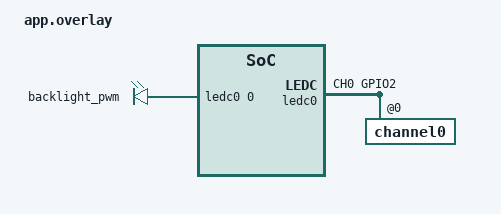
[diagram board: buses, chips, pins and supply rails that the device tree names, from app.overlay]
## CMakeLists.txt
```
cmake_minimum_required(VERSION 3.20.0)

set(EXTRA_ZEPHYR_MODULES
    "${CMAKE_CURRENT_SOURCE_DIR}/../.."
)

find_package(Zephyr REQUIRED HINTS $ENV{ZEPHYR_BASE})
project(viewe_lvgl_demo)

target_include_directories(app PRIVATE include)

target_sources(app PRIVATE
    src/main.c
    src/display.c
    src/backlight.c
    src/rgb_led.c
    src/gui.c
)
```

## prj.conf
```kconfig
# System logging
CONFIG_LOG=y
CONFIG_LOG_LCD_CAM_DIAGNOSTICS=n

# Hardware peripherals
CONFIG_GPIO=y
CONFIG_PWM=y
CONFIG_DMA=y
CONFIG_LED_STRIP=y
CONFIG_PULSE_IO_ESP32_RMT=y

# LCD_CAM RGB display
CONFIG_DISPLAY=y
CONFIG_ESP32_LCD_CAM_RGB=y
CONFIG_ESP32_LCD_RGB_BACKEND_V2=y
CONFIG_ESP32_LCD_RGB_V2_STATS=y
CONFIG_ESP32_LCD_RGB_FRAMEBUFFER_COUNT=3
# Display orientation (select one)
CONFIG_ESP32_LCD_RGB_ROTATION_0=y
# CONFIG_ESP32_LCD_RGB_ROTATION_90=y
# CONFIG_ESP32_LCD_RGB_ROTATION_180=y
# CONFIG_ESP32_LCD_RGB_ROTATION_270=y

# External PSRAM
CONFIG_ESP_SPIRAM=y
CONFIG_SPIRAM_SPEED_80M=y
CONFIG_ESP_SPIRAM_HEAP_SIZE=4194304

# LCD backlight
CONFIG_LED=y
CONFIG_LED_PWM=y

# GT911 touchscreen
CONFIG_INPUT=y
CONFIG_INPUT_GT911=y
# Default: POLL=y. Set INT=y only when R33 is mounted.
CONFIG_GT911_TOUCHSCREEN_POLL=y
# CONFIG_GT911_TOUCHSCREEN_INT=y

# LVGL
CONFIG_LVGL=y
CONFIG_LV_Z_FLUSH_THREAD=n
CONFIG_LV_COLOR_FORMAT_RGB565=y
CONFIG_LV_Z_MEM_POOL_SIZE=65536
CONFIG_LV_Z_POINTER_INPUT=y
CONFIG_LV_Z_POINTER_FROM_CHOSEN_TOUCH=y
CONFIG_LV_Z_PARTIAL_REFRESH=y
CONFIG_LV_Z_DOUBLE_VDB=y
CONFIG_LV_Z_BUFFER_ALLOC_STATIC=y
CONFIG_LV_Z_AUTO_INIT=y

# LVGL fonts
CONFIG_LV_FONT_MONTSERRAT_20=y
CONFIG_LV_FONT_MONTSERRAT_28=y
CONFIG_LV_FONT_MONTSERRAT_48=y
```

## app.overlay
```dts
#include <zephyr/dt-bindings/pwm/pwm.h>
#include <zephyr/dt-bindings/pinctrl/esp32s3-pinctrl.h>

&lcd_backlight_en {
	status = "disabled";
};

&pinctrl {
	backlight_pwm_default: backlight_pwm_default {
		group1 {
			pinmux = <LEDC_CH0_GPIO2>;
			output-enable;
		};
	};
};

&ledc0 {
	status = "okay";
	pinctrl-0 = <&backlight_pwm_default>;
	pinctrl-names = "default";
	#address-cells = <1>;
	#size-cells = <0>;

	channel0@0 {
		reg = <0>;
		timer = <0>;
	};
};

/ {
	pwmleds {
		compatible = "pwm-leds";

		backlight_pwm: backlight_pwm {
			pwms = <&ledc0 0 PWM_HZ(250) PWM_POLARITY_NORMAL>;
		};
	};
};
```

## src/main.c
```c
/**
 * @file main.c
 * @brief VIEWE LVGL demonstration application entry point.
 */

/*****************************************************************************
                                    INCLUDES
*****************************************************************************/
#include <zephyr/kernel.h>
#include <zephyr/logging/log.h>

#include <backlight.h>
#include <display.h>
#include <gui.h>
#include <rgb_led.h>


/*****************************************************************************
                          PRIVATE DEFINES / MACROS
*****************************************************************************/
LOG_MODULE_REGISTER(viewe_main, LOG_LEVEL_INF);

#define LVGL_TASK_DELAY_MS (2U)


/*****************************************************************************
                     PRIVATE STRUCTS / ENUMS / VARIABLES
*****************************************************************************/

/*****************************************************************************
                         PRIVATE FUNCTION DECLARATIONS
*****************************************************************************/

/*****************************************************************************
                       PRIVATE FUNCTION IMPLEMENTATIONS
*****************************************************************************/

/*****************************************************************************
                           INTERFACE IMPLEMENTATION
*****************************************************************************/
int main(void)
{
    int ret = 0;
    lv_obj_t *screen = NULL;

    ret = display_init(&screen);
    if (0 != ret) {
        return ret;
    }

    ret = rgb_led_init();
    if (0 != ret) {
        return ret;
    }

    ret = backlight_init();
    if (0 != ret) {
        return ret;
    }

    ret = gui_init(screen);
    if (0 != ret) {
        LOG_ERR("GUI initialization failed: %d", ret);
        return ret;
    }

    while (true) {
        display_process();
        k_sleep(K_MSEC(LVGL_TASK_DELAY_MS));
    }

    return 0;
}
```

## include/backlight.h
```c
/**
 * @file backlight.h
 * @brief LCD backlight initialization for the VIEWE demo.
 * 
 * Provides initialization for the onboard LCD backlight.
 */

#ifndef VIEWE_DEMO_BACKLIGHT_H
#define VIEWE_DEMO_BACKLIGHT_H

/*****************************************************************************
                                    INCLUDES
*****************************************************************************/

/*****************************************************************************
                       PUBLIC DEFINES / MACROS / ENUMS
*****************************************************************************/

/*****************************************************************************
                         PUBLIC INTERFACE DECLARATION
*****************************************************************************/
/**
 * @brief Initialize the LCD backlight with the default brightness.
 * @return 0 on success, a negative errno code otherwise.
 */
int backlight_init(void);

#endif // VIEWE_DEMO_BACKLIGHT_H
```

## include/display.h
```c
/**
 * @file display.h
 * @brief Display validation and LVGL runtime support for the VIEWE demo.
 *
 * Provides functions for obtaining the active LVGL screen and processing
 * LVGL timers in the application's main loop.
 */

#ifndef VIEWE_DEMO_DISPLAY_H
#define VIEWE_DEMO_DISPLAY_H

/*****************************************************************************
                                    INCLUDES
*****************************************************************************/
#include <lvgl.h>


/*****************************************************************************
                       PUBLIC DEFINES / MACROS / ENUMS
*****************************************************************************/

/*****************************************************************************
                         PUBLIC INTERFACE DECLARATION
*****************************************************************************/
/**
 * @brief Validate the Zephyr display and obtain the active LVGL screen.
 * @param screen Active LVGL screen on successful initialization.
 * @return 0 on success, negative errno code otherwise.
 */
int display_init(lv_obj_t **screen);

/** @brief Run a single LVGL timer-handler iteration. */
void display_process(void);

#endif // VIEWE_DEMO_DISPLAY_H
```

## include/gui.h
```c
/**
 * @file gui.h
 * @brief Shared LVGL interface for both VIEWE display variants.
 *
 * Creates the demo widgets and selects a size-aware layout using the
 * active LVGL display dimensions.
 */

#ifndef VIEWE_DEMO_GUI_H
#define VIEWE_DEMO_GUI_H

/*****************************************************************************
                                    INCLUDES
*****************************************************************************/
#include <lvgl.h>


/*****************************************************************************
                       PUBLIC DEFINES / MACROS / ENUMS
*****************************************************************************/

/*****************************************************************************
                         PUBLIC INTERFACE DECLARATION
*****************************************************************************/
/**
 * @brief Create the demo interface on the supplied LVGL screen.
 * @param screen Active LVGL screen.
 * @return 0 on success, negative errno code otherwise.
 */
int gui_init(lv_obj_t *screen);

#endif // VIEWE_DEMO_GUI_H
```

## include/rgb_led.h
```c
/**
 * @file rgb_led.h
 * @brief RGB LED initialization for the VIEWE demo.
 * 
 * Sets fixed color on RGB-LED
 */

#ifndef VIEWE_DEMO_RGB_LED_H
#define VIEWE_DEMO_RGB_LED_H

/*****************************************************************************
                                    INCLUDES
*****************************************************************************/

/*****************************************************************************
                       PUBLIC DEFINES / MACROS / ENUMS
*****************************************************************************/

/*****************************************************************************
                         PUBLIC INTERFACE DECLARATION
*****************************************************************************/
/**
 * @brief Set the status RGB LED to the demo's startup color.
 * @return 0 on success, negative errno code otherwise.
 */
int rgb_led_init(void);

#endif // VIEWE_DEMO_RGB_LED_H
```

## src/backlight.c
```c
/**
 * @file backlight.c
 * @brief PWM-controlled LCD backlight initialization.
 */

/*****************************************************************************
                                    INCLUDES
*****************************************************************************/
#include <errno.h>

#include <zephyr/device.h>
#include <zephyr/devicetree.h>
#include <zephyr/drivers/led.h>
#include <zephyr/logging/log.h>

#include <backlight.h>


/*****************************************************************************
                          PRIVATE DEFINES / MACROS
*****************************************************************************/
LOG_MODULE_REGISTER(viewe_backlight, LOG_LEVEL_INF);

#define BACKLIGHT_NODE DT_ALIAS(backlight_pwm)
#define BACKLIGHT_LED_INDEX (0U)
#define BACKLIGHT_START_BRIGHTNESS_PERCENT (35U)


/*****************************************************************************
                     PRIVATE STRUCTS / ENUMS / VARIABLES
*****************************************************************************/
static const struct device *const backlight_dev = DEVICE_DT_GET(BACKLIGHT_NODE);


/*****************************************************************************
                         PRIVATE FUNCTION DECLARATIONS
*****************************************************************************/

/*****************************************************************************
                       PRIVATE FUNCTION IMPLEMENTATIONS
*****************************************************************************/

/*****************************************************************************
                           INTERFACE IMPLEMENTATION
*****************************************************************************/
int backlight_init(void)
{
    int ret = 0;

    if (true != device_is_ready(backlight_dev)) {
        LOG_ERR("Backlight device not ready");
        return -ENODEV;
    }

    ret = led_set_brightness(backlight_dev, BACKLIGHT_LED_INDEX, BACKLIGHT_START_BRIGHTNESS_PERCENT);
    if (0 != ret) {
        LOG_ERR("Backlight brightness failed: %d", ret);
    }

    return ret;
}
```

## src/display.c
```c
/**
 * @file display.c
 * @brief Zephyr display readiness checks and LVGL processing.
 */

/*****************************************************************************
                                    INCLUDES
*****************************************************************************/
#include <errno.h>

#include <zephyr/device.h>
#include <zephyr/devicetree.h>
#include <zephyr/drivers/display.h>
#include <zephyr/logging/log.h>

#include <display.h>


/*****************************************************************************
                          PRIVATE DEFINES / MACROS
*****************************************************************************/
LOG_MODULE_REGISTER(viewe_display, LOG_LEVEL_INF);

#define DISPLAY_NODE DT_CHOSEN(zephyr_display)


/*****************************************************************************
                     PRIVATE STRUCTS / ENUMS / VARIABLES
*****************************************************************************/
static const struct device *const display_dev = DEVICE_DT_GET(DISPLAY_NODE);


/*****************************************************************************
                         PRIVATE FUNCTION DECLARATIONS
*****************************************************************************/

/*****************************************************************************
                       PRIVATE FUNCTION IMPLEMENTATIONS
*****************************************************************************/

/*****************************************************************************
                           INTERFACE IMPLEMENTATION
*****************************************************************************/
int display_init(lv_obj_t **screen)
{
    lv_obj_t *active_screen = NULL;

    if (NULL == screen) {
        return -EINVAL;
    }

    *screen = NULL;

    if (true != device_is_ready(display_dev)) {
        LOG_ERR("Display device not ready");
        return -ENODEV;
    }

    if (NULL == lv_display_get_default()) {
        LOG_ERR("LVGL display not available");
        return -ENODEV;
    }

    active_screen = lv_screen_active();
    if (NULL == active_screen) {
        LOG_ERR("LVGL active screen is NULL");
        return -ENODEV;
    }

    *screen = active_screen;
    LOG_INF("LCD RGB started");
    return 0;
}

void display_process(void)
{
    (void)lv_timer_handler();
}
```

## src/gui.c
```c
/**
 * @file gui.c
 * @brief Shared LVGL widgets and responsive layout for VIEWE RGB LCDs.
 */

/*****************************************************************************
                                    INCLUDES
*****************************************************************************/
#include <errno.h>
#include <stdint.h>
#include <stdio.h>

#include <zephyr/logging/log.h>
#include <zephyr/version.h>

#include <gui.h>
#include <theme.h>


/*****************************************************************************
                          PRIVATE DEFINES / MACROS
*****************************************************************************/
LOG_MODULE_REGISTER(viewe_gui, LOG_LEVEL_INF);

#define GUI_COMPACT_MAX_SHORT_EDGE  (399)
#define GUI_VERSION_TEXT_SIZE       (64U)
#define GUI_ANIMATION_DURATION_MS   (3000U)
#define GUI_BUTTON_RIGHT_OFFSET     (-20)
#define GUI_COUNTER_LEFT_OFFSET     (20)
#define GUI_COUNTER_TOP_OFFSET      (20)
#define GUI_BUTTON_RADIUS           (10)
#define GUI_BUTTON_TEXT             "CLICK ME!"
#define GUI_SIGNATURE_TEXT          "@_art_of_electronics_"

/*****************************************************************************
                     PRIVATE STRUCTS / ENUMS / VARIABLES
*****************************************************************************/
struct gui_layout {
    int32_t morph_ball_size;
    int32_t morph_ball_bottom_offset;
    int32_t button_width;
    int32_t button_height;
    int32_t button_top_offset;
    int32_t button_portrait_top_offset;
    int32_t signature_bottom_offset;
    const lv_font_t *counter_font;
    const lv_font_t *version_font;
    const lv_font_t *signature_font;
};

static const struct gui_layout layout_large = {
    .morph_ball_size = 100,
    .morph_ball_bottom_offset = 200,
    .button_width = 180,
    .button_height = 60,
    .button_top_offset = 20,
    .button_portrait_top_offset = 20,
    .signature_bottom_offset = 50,
    .counter_font = &lv_font_montserrat_48,
    .version_font = &lv_font_montserrat_48,
    .signature_font = &lv_font_montserrat_28,
};

static const struct gui_layout layout_compact = {
    .morph_ball_size = 40,
    .morph_ball_bottom_offset = 100,
    .button_width = 160,
    .button_height = 50,
    .button_top_offset = 20,
    .button_portrait_top_offset = 60,
    .signature_bottom_offset = 20,
    .counter_font = &lv_font_montserrat_28,
    .version_font = &lv_font_montserrat_28,
    .signature_font = &lv_font_montserrat_20,
};

static lv_obj_t *counter_label = NULL;
static uint32_t click_count = 0U;


/*****************************************************************************
                         PRIVATE FUNCTION DECLARATIONS
*****************************************************************************/

/*****************************************************************************
                       PRIVATE FUNCTION IMPLEMENTATIONS
*****************************************************************************/
static const struct gui_layout *gui_select_layout(int32_t width, int32_t height)
{
    int32_t short_edge = (width < height) ? (width) : (height);

    return (short_edge <= GUI_COMPACT_MAX_SHORT_EDGE) ? (&layout_compact) : (&layout_large);
}

static void gui_clickme_event_cb(lv_event_t *event)
{
    if (LV_EVENT_CLICKED == lv_event_get_code(event)) {
        click_count++;
        lv_label_set_text_fmt(counter_label, "Clicks: %u", (unsigned int)click_count);
        LOG_INF("Button clicked: %u", (unsigned int)click_count);
    }
}

static void gui_create_clickme(lv_obj_t *screen, const struct gui_layout *layout, bool portrait)
{
    lv_obj_t *button = NULL;
    lv_obj_t *button_label = NULL;
    int32_t top_offset = layout->button_top_offset;

    counter_label = lv_label_create(screen);
    lv_label_set_text(counter_label, "Clicks: 0");
    lv_obj_set_style_text_font(counter_label, layout->counter_font, LV_PART_MAIN);
    lv_obj_set_style_text_color(counter_label, lv_color_hex(SAMUS_PURPLE), LV_PART_MAIN);
    lv_obj_align(counter_label, LV_ALIGN_TOP_LEFT, GUI_COUNTER_LEFT_OFFSET, GUI_COUNTER_TOP_OFFSET);

    button = lv_obj_create(screen);
    lv_obj_set_size(button, layout->button_width, layout->button_height);
    if (true == portrait) {
        top_offset = layout->button_portrait_top_offset;
    }
    lv_obj_align(button, LV_ALIGN_TOP_RIGHT, GUI_BUTTON_RIGHT_OFFSET, top_offset);
    lv_obj_set_scrollable(button, false);
    lv_obj_set_clickable(button, true);
    lv_obj_set_style_bg_color(button, lv_color_hex(SAMUS_VARIA_ORANGE), LV_PART_MAIN);
    lv_obj_set_style_bg_color(button, lv_color_hex(DARK_SAMUS_ARMOR), LV_PART_MAIN | LV_STATE_PRESSED);
    lv_obj_set_style_bg_opa(button, LV_OPA_COVER, LV_PART_MAIN);
    lv_obj_set_style_border_width(button, 0, LV_PART_MAIN);
    lv_obj_set_style_radius(button, GUI_BUTTON_RADIUS, LV_PART_MAIN);
    lv_obj_set_style_shadow_width(button, 0, LV_PART_MAIN);
    lv_obj_set_style_text_color(button, lv_color_hex(DARK_SAMUS_ARMOR), LV_PART_MAIN);
    lv_obj_set_style_text_color(button, lv_color_hex(DARK_SAMUS_BLUE), LV_PART_MAIN | LV_STATE_PRESSED);
    lv_obj_add_event_cb(button, gui_clickme_event_cb, LV_EVENT_CLICKED, NULL);

    button_label = lv_label_create(button);
    lv_label_set_text(button_label, GUI_BUTTON_TEXT);
    lv_obj_set_style_text_font(button_label, &lv_font_montserrat_28, LV_PART_MAIN);
    lv_obj_center(button_label);
}

static void gui_morphball_animation_cb(void *object, int32_t value)
{
    lv_obj_set_x((lv_obj_t *)object, value);
}

static void gui_create_morphball_anim(lv_obj_t *screen, const struct gui_layout *layout,
                                      int32_t screen_width, int32_t screen_height)
{
    lv_obj_t *morph_ball = NULL;
    lv_anim_t anim = {0};
    int32_t animation_start_x = 0;
    int32_t animation_end_x = screen_width - layout->morph_ball_size;
    int32_t animation_y = screen_height - layout->morph_ball_bottom_offset;

    morph_ball = lv_obj_create(screen);
    lv_obj_set_size(morph_ball, layout->morph_ball_size, layout->morph_ball_size);
    lv_obj_set_style_bg_color(morph_ball, lv_color_hex(SAMUS_VARIA_ORANGE), LV_PART_MAIN);
    lv_obj_set_style_bg_opa(morph_ball, LV_OPA_COVER, LV_PART_MAIN);
    lv_obj_set_style_radius(morph_ball, layout->morph_ball_size / 2, LV_PART_MAIN);
    lv_obj_set_style_border_width(morph_ball, 0, LV_PART_MAIN);
    lv_obj_set_pos(morph_ball, animation_start_x, animation_y);

    lv_anim_init(&anim);
    lv_anim_set_var(&anim, morph_ball);
    lv_anim_set_exec_cb(&anim, gui_morphball_animation_cb);
    lv_anim_set_values(&anim, animation_start_x, animation_end_x);
    lv_anim_set_duration(&anim, GUI_ANIMATION_DURATION_MS);
    lv_anim_set_playback_duration(&anim, GUI_ANIMATION_DURATION_MS);
    lv_anim_set_repeat_count(&anim, LV_ANIM_REPEAT_INFINITE);
    lv_anim_start(&anim);
}

static void gui_create_version(lv_obj_t *screen, const struct gui_layout *layout, bool portrait)
{
    lv_obj_t *version_label = NULL;
    lv_obj_t *signature_label = NULL;
    char version_text[GUI_VERSION_TEXT_SIZE] = {0};

    if (true == portrait) {
        (void)snprintf(version_text,
                       sizeof(version_text),
                       "Zephyr %u.%u\nLVGL %u.%u",
                       (unsigned int)KERNEL_VERSION_MAJOR,
                       (unsigned int)KERNEL_VERSION_MINOR,
                       (unsigned int)lv_version_major(),
                       (unsigned int)lv_version_minor());
    } else {
        (void)snprintf(version_text,
                       sizeof(version_text),
                       "Zephyr %u.%u x LVGL %u.%u",
                       (unsigned int)KERNEL_VERSION_MAJOR,
                       (unsigned int)KERNEL_VERSION_MINOR,
                       (unsigned int)lv_version_major(),
                       (unsigned int)lv_version_minor());
    }

    version_label = lv_label_create(screen);
    lv_label_set_text(version_label, version_text);
    lv_obj_set_style_text_font(version_label, layout->version_font, LV_PART_MAIN);
    lv_obj_set_style_text_color(version_label, lv_color_hex(SAMUS_VARIA_ORANGE), LV_PART_MAIN);
    lv_obj_set_style_text_align(version_label, LV_TEXT_ALIGN_CENTER, LV_PART_MAIN);
    lv_obj_center(version_label);

    signature_label = lv_label_create(screen);
    lv_label_set_text(signature_label, GUI_SIGNATURE_TEXT);
    lv_obj_set_style_text_font(signature_label, layout->signature_font, LV_PART_MAIN);
    lv_obj_set_style_text_color(signature_label, lv_color_hex(SAMUS_RED), LV_PART_MAIN);
    lv_obj_align(signature_label, LV_ALIGN_BOTTOM_MID, 0, -layout->signature_bottom_offset);
}

static void gui_create_background(lv_obj_t *screen)
{
    lv_obj_set_style_bg_color(screen, lv_color_hex(DARK_SAMUS_BLUE), LV_PART_MAIN);
    lv_obj_set_style_bg_grad_color(screen, lv_color_hex(DARK_SAMUS_ARMOR), LV_PART_MAIN);
    lv_obj_set_style_bg_grad_dir(screen, LV_GRAD_DIR_VER, LV_PART_MAIN);
    lv_obj_set_style_bg_opa(screen, LV_OPA_COVER, LV_PART_MAIN);
}


/*****************************************************************************
                           INTERFACE IMPLEMENTATION
*****************************************************************************/
int gui_init(lv_obj_t *screen)
{
    lv_display_t *display = NULL;
    const struct gui_layout *layout = NULL;
    int32_t screen_width = 0;
    int32_t screen_height = 0;
    bool portrait = false;

    if (NULL == screen) {
        return -EINVAL;
    }

    display = lv_obj_get_display(screen);
    if (NULL == display) {
        return -ENODEV;
    }

    screen_width = lv_display_get_horizontal_resolution(display);
    screen_height = lv_display_get_vertical_resolution(display);
    layout = gui_select_layout(screen_width, screen_height);
    portrait = (screen_height > screen_width);

    gui_create_background(screen);
    gui_create_version(screen, layout, portrait);
    gui_create_morphball_anim(screen, layout, screen_width, screen_height);
    gui_create_clickme(screen, layout, portrait);

    LOG_INF("GUI initialized: %ld x %ld (%s)",
            (long)screen_width, (long)screen_height,
            (layout == &layout_compact) ? ("compact") : ("large"));

    return 0;
}
```

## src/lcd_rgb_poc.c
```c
#include "lcd_rgb_poc.h"

#include <errno.h>
#include <stdint.h>
#include <string.h>

#include <zephyr/cache.h>
#include <zephyr/device.h>
#include <zephyr/devicetree.h>
#include <zephyr/drivers/dma.h>
#include <zephyr/logging/log.h>
#include <zephyr/sys/util.h>

#include <esp_clk_tree.h>
#include <hal/dma_types.h>
#include <hal/gdma_channel.h>
#include <hal/gdma_ll.h>
#include <hal/lcd_hal.h>
#include <hal/lcd_ll.h>
#include <soc/gdma_struct.h>

#include <zephyr/drivers/pinctrl.h>

#define LCD_CAM_NODE DT_NODELABEL(lcd_cam)

PINCTRL_DT_DEFINE(LCD_CAM_NODE);

LOG_MODULE_REGISTER(lcd_rgb_poc, LOG_LEVEL_INF);

#define LCD_BUS_ID                     0U

#define LCD_PERIPH_CLOCK_PRE_SCALE     2U
#define LCD_PIXEL_CLOCK_HZ             20000000U

#define LCD_HACTIVE                    800U
#define LCD_VACTIVE                    480U

#define LCD_HSYNC_LEN                  1U
#define LCD_HBACK_PORCH                42U
#define LCD_HFRONT_PORCH               20U

#define LCD_VSYNC_LEN                  10U
#define LCD_VBACK_PORCH                12U
#define LCD_VFRONT_PORCH               4U

#define LCD_DATA_WIDTH                 16U

#define LCD_DMA_BUFFER_PIXELS          4000U
#define LCD_DMA_BUFFER_SIZE            \
	(LCD_DMA_BUFFER_PIXELS * sizeof(uint16_t))

#define LCD_DMA_DESC_COUNT             2U
#define LCD_DMA_DESC_SIZE              \
	(LCD_DMA_BUFFER_SIZE / LCD_DMA_DESC_COUNT)

#define LCD_CAM_NODE                   DT_NODELABEL(lcd_cam)

#if !DT_NODE_HAS_STATUS(LCD_CAM_NODE, okay)
#error "LCD_CAM must be enabled in the board devicetree"
#endif

#define LCD_DMA_DEV                    \
	DEVICE_DT_GET(DT_DMAS_CTLR_BY_NAME(LCD_CAM_NODE, tx))

#define LCD_DMA_CHANNEL                \
	DT_DMAS_CELL_BY_NAME(LCD_CAM_NODE, tx, channel)

#define LCD_DMA_SLOT                   SOC_GDMA_TRIG_PERIPH_LCD0

/*
 * ESP32 GDMA exposes RX/TX as separate Zephyr channels.
 * The hardware channel index is therefore channel / 2.
 */
#define LCD_GDMA_HW_CHANNEL            (LCD_DMA_CHANNEL / 2U)

struct lcd_rgb_poc_data {
	lcd_hal_context_t hal;
	const struct device *dma_dev;
	uint32_t dma_channel;
};

static struct lcd_rgb_poc_data lcd_data;

static uint16_t __aligned(32)
	lcd_dma_buffer[LCD_DMA_BUFFER_PIXELS];

static dma_descriptor_t __aligned(4)
	lcd_dma_desc[LCD_DMA_DESC_COUNT];

static struct dma_block_config lcd_dma_setup_block;
static struct dma_config lcd_dma_config;

static int lcd_pinctrl_init(void)
{
    const struct pinctrl_dev_config *pcfg =
        PINCTRL_DT_DEV_CONFIG_GET(LCD_CAM_NODE);

    int ret = pinctrl_apply_state(pcfg, PINCTRL_STATE_DEFAULT);

    if (ret < 0) {
        LOG_ERR("Failed to apply LCD_CAM pinctrl: %d", ret);
        return ret;
    }

    LOG_INF("LCD_CAM RGB pinctrl applied");
    return 0;
}

static int lcd_clock_init(struct lcd_rgb_poc_data *data)
{
	const soc_periph_lcd_clk_src_t clock_source = LCD_CLK_SRC_DEFAULT;
	uint32_t source_clock_hz;
	uint32_t lcd_clock_hz;
	uint32_t pixel_clock_hz;
	uint32_t pclk_prescale;
	int ret;

	ret = esp_clk_tree_src_get_freq_hz(
		clock_source,
		ESP_CLK_TREE_SRC_FREQ_PRECISION_APPROX,
		&source_clock_hz);

	if (ret != ESP_OK) {
		LOG_ERR("Failed to get LCD clock source frequency (%d)", ret);
		return -EINVAL;
	}

	lcd_ll_select_clk_src(data->hal.dev, clock_source);

	lcd_ll_set_group_clock_coeff(
		data->hal.dev,
		LCD_PERIPH_CLOCK_PRE_SCALE,
		0,
		0);

	lcd_clock_hz =
		source_clock_hz / LCD_PERIPH_CLOCK_PRE_SCALE;

	pclk_prescale =
		DIV_ROUND_UP(lcd_clock_hz, LCD_PIXEL_CLOCK_HZ);

	if ((pclk_prescale == 0U) ||
	    (pclk_prescale > LCD_LL_PCLK_DIV_MAX)) {
		LOG_ERR("Unsupported pixel clock divider %u",
			pclk_prescale);
		return -EINVAL;
	}

	lcd_ll_set_pixel_clock_prescale(
		data->hal.dev,
		pclk_prescale);

	pixel_clock_hz = lcd_clock_hz / pclk_prescale;

	LOG_INF("LCD clock source: %u Hz", source_clock_hz);
	LOG_INF("LCD peripheral clock: %u Hz", lcd_clock_hz);
	LOG_INF("RGB pixel clock: %u Hz", pixel_clock_hz);

	return 0;
}


static void lcd_timing_init(struct lcd_rgb_poc_data *data)
{
	lcd_cam_dev_t *dev = data->hal.dev;

	lcd_ll_set_dma_read_stride(dev, LCD_DATA_WIDTH);

	lcd_ll_set_clock_idle_level(dev, false);
	lcd_ll_set_pixel_clock_edge(dev, true);

	lcd_ll_enable_rgb_mode(dev, true);
	lcd_ll_enable_color_convert(dev, false);

	/* RGB uses data phase only. */
	lcd_ll_set_phase_cycles(dev, 0, 0, 1);

	/* Data phase length is controlled by DMA. */
	lcd_ll_enable_output_always_on(dev, true);

	/* HSYNC/VSYNC active low, DE active high. */
	lcd_ll_set_idle_level(dev, true, true, false);

	/* RGB always contains front and back porch regions. */
	lcd_ll_set_blank_cycles(dev, 1, 1);

	lcd_ll_set_horizontal_timing(
		dev,
		LCD_HSYNC_LEN,
		LCD_HBACK_PORCH,
		LCD_HACTIVE,
		LCD_HFRONT_PORCH);

	lcd_ll_set_vertical_timing(
		dev,
		LCD_VSYNC_LEN,
		LCD_VBACK_PORCH,
		LCD_VACTIVE,
		LCD_VFRONT_PORCH);

	lcd_ll_enable_output_hsync_in_porch_region(dev, true);
	lcd_ll_set_hsync_position(dev, 0);

	lcd_ll_enable_auto_next_frame(dev, true);

	lcd_ll_set_delay_ticks(dev, 0, 0, 0);
	lcd_ll_set_data_delay_ticks(dev, 0);
}


static int lcd_cam_init(struct lcd_rgb_poc_data *data)
{
	int ret;

	lcd_ll_enable_bus_clock(LCD_BUS_ID, true);
	lcd_ll_reset_register(LCD_BUS_ID);

	data->hal.dev = LCD_LL_GET_HW(LCD_BUS_ID);

	//lcd_ll_enable_clock(data->hal.dev, true);
	lcd_ll_enable_output_always_on(data->hal.dev, false);

	ret = lcd_clock_init(data);
	if (ret < 0) {
		return ret;
	}

	lcd_ll_reset(data->hal.dev);
	lcd_ll_fifo_reset(data->hal.dev);

	//lcd_ll_enable_rgb_mode(data->hal.dev, true);
	//lcd_ll_enable_color_convert(data->hal.dev, false);
	//lcd_ll_enable_output_always_on(data->hal.dev, true);

	lcd_timing_init(data);

	return 0;
}


static int lcd_dma_channel_init(struct lcd_rgb_poc_data *data)
{
	int ret;

	data->dma_dev = LCD_DMA_DEV;
	data->dma_channel = LCD_DMA_CHANNEL;

	if (!device_is_ready(data->dma_dev)) {
		LOG_ERR("LCD DMA controller is not ready");
		return -ENODEV;
	}

	memset(&lcd_dma_setup_block, 0,
	       sizeof(lcd_dma_setup_block));

	memset(&lcd_dma_config, 0,
	       sizeof(lcd_dma_config));

	/*
	 * Let Zephyr configure the physical GDMA TX channel and connect it
	 * to the LCD0 peripheral trigger.
	 *
	 * This descriptor will never be started through the Zephyr DMA API.
	 */
	lcd_dma_setup_block.source_address =
		(uintptr_t)lcd_dma_buffer;

	lcd_dma_setup_block.block_size =
		sizeof(uint32_t);

	lcd_dma_config.channel_direction =
		MEMORY_TO_PERIPHERAL;

	lcd_dma_config.dma_slot =
		LCD_DMA_SLOT;

	lcd_dma_config.block_count = 1U;

	lcd_dma_config.head_block =
		&lcd_dma_setup_block;

	ret = dma_config(
		data->dma_dev,
		data->dma_channel,
		&lcd_dma_config);

	if (ret < 0) {
		LOG_ERR("Failed to configure LCD DMA channel (%d)", ret);
		return ret;
	}

	LOG_INF("LCD GDMA configured: Zephyr channel %u, HW TX channel %u",
		data->dma_channel,
		LCD_GDMA_HW_CHANNEL);

	return 0;
}


static void lcd_dma_ring_init(void)
{
	uintptr_t buffer_addr = (uintptr_t)lcd_dma_buffer;

	for (size_t i = 0; i < ARRAY_SIZE(lcd_dma_buffer); ++i) {
		lcd_dma_buffer[i] = 0x101F;
	}

	memset(lcd_dma_desc, 0, sizeof(lcd_dma_desc));

	for (size_t i = 0; i < LCD_DMA_DESC_COUNT; ++i) {
	lcd_dma_desc[i].buffer =
		(void *)(buffer_addr +
			(i * LCD_DMA_DESC_SIZE));

	lcd_dma_desc[i].dw0.size = LCD_DMA_DESC_SIZE;
	lcd_dma_desc[i].dw0.length = LCD_DMA_DESC_SIZE;
	lcd_dma_desc[i].dw0.owner =
		DMA_DESCRIPTOR_BUFFER_OWNER_DMA;

	lcd_dma_desc[i].dw0.suc_eof =
		(i == (LCD_DMA_DESC_COUNT - 1U));

	lcd_dma_desc[i].next =
		&lcd_dma_desc[
			(i + 1U) % LCD_DMA_DESC_COUNT];
}

	sys_cache_data_flush_range(
		lcd_dma_buffer,
		sizeof(lcd_dma_buffer));

	sys_cache_data_flush_range(
		lcd_dma_desc,
		sizeof(lcd_dma_desc));

	LOG_INF("LCD DMA ring prepared: %u descriptors, %u bytes",
		LCD_DMA_DESC_COUNT,
		LCD_DMA_BUFFER_SIZE);
}


static void lcd_rgb_start(struct lcd_rgb_poc_data *data)
{
	lcd_cam_dev_t *dev = data->hal.dev;

	lcd_ll_stop(dev);
	lcd_ll_reset(dev);
	lcd_ll_fifo_reset(dev);

	gdma_ll_tx_set_desc_addr(
		&GDMA,
		LCD_GDMA_HW_CHANNEL,
		(uint32_t)(uintptr_t)lcd_dma_desc);

	gdma_ll_tx_start(
		&GDMA,
		LCD_GDMA_HW_CHANNEL);

	k_busy_wait(1);

	lcd_ll_start(dev);

	LOG_INF("LCD RGB stream started");

	k_msleep(10);

	LOG_INF("GDMA: idle=%d eof=0x%08x prefetched=0x%08x",
	gdma_ll_tx_is_desc_fsm_idle(
		&GDMA, LCD_GDMA_HW_CHANNEL),
	gdma_ll_tx_get_eof_desc_addr(
		&GDMA, LCD_GDMA_HW_CHANNEL),
	gdma_ll_tx_get_prefetched_desc_addr(
		&GDMA, LCD_GDMA_HW_CHANNEL));
}


int lcd_rgb_poc_init(void)
{
	int ret;

	LOG_INF("Initializing ESP32-S3 LCD_CAM RGB proof of concept");

	ret = lcd_pinctrl_init();
	if (ret < 0) {
    	return ret;
	}

	ret = lcd_cam_init(&lcd_data);
	if (ret < 0) {
		return ret;
	}

	ret = lcd_dma_channel_init(&lcd_data);
	if (ret < 0) {
		return ret;
	}

	lcd_dma_ring_init();
	lcd_rgb_start(&lcd_data);

	LOG_INF("LCD_CAM RGB initialized: %ux%u",
		LCD_HACTIVE,
		LCD_VACTIVE);

	return 0;
}
```

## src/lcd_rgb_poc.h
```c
#ifndef LCD_RGB_POC_H_
#define LCD_RGB_POC_H_

int lcd_rgb_poc_init(void);

#endif /* LCD_RGB_POC_H_ */
```

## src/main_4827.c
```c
#include <zephyr/kernel.h>
#include <zephyr/sys/printk.h>
#include <zephyr/drivers/gpio.h>
#include <zephyr/drivers/led.h>
#include <zephyr/drivers/led_strip.h>
#include <zephyr/drivers/display.h>
#include <zephyr/device.h>
#include <zephyr/devicetree.h>
#include <zephyr/logging/log.h>
#include <zephyr/version.h>

#include <stdint.h>
#include <lvgl.h>

LOG_MODULE_REGISTER(main, LOG_LEVEL_INF);

#define LVGL_TASK_DELAY_MS  (10U)

#define SAMUS_ORANGE		(0xF28C28U)
#define SAMUS_RED       	(0xD62828U)
#define SAMUS_BLUE      	(0x2389DAU)
#define SAMUS_GREEN     	(0x50C878U)
#define SAMUS_PURPLE    	(0x8445C7U)
#define DARK_SAMUS_BLUE     (0x00CFFFU)
#define DARK_SAMUS_ARMOR	(0x142B5AU)

#define RGB_LED_NODE 			DT_ALIAS(led_strip)
#define BACKLIGHT_NODE      	DT_ALIAS(backlight_pwm)
#define BACKLIGHT_LED_INDEX 	(0U)

#define VERSION_TEXT_SIZE		(64U)

#define ANIMATION_DURATION_MS 	(3000U)
#define ANIMATION_BOX_SIZE    	(40)

#define RUN_STRESS_TEST (0)
extern void stress_test_start(lv_obj_t *screen);

static lv_obj_t *screen = NULL;
static lv_obj_t *counter_label = NULL;
static uint32_t click_count = 0U;

static void clickme_button_event_cb(lv_event_t *event)
{
    if (LV_EVENT_CLICKED == lv_event_get_code(event)) {
        click_count++;
		lv_label_set_text_fmt(counter_label, "Clicks: %u", click_count);

        LOG_INF("Button clicked: %u", (unsigned int)click_count);
    }
}

static void create_clickme(lv_obj_t *screen)
{
    lv_obj_t *button = NULL;
    lv_obj_t *button_label = NULL;

	lv_display_t *display = lv_obj_get_display(screen);
	int32_t screen_width = lv_display_get_horizontal_resolution(display);
	int32_t screen_height = lv_display_get_vertical_resolution(display);
	
    counter_label = lv_label_create(screen);
    lv_label_set_text(counter_label, "Clicks: 0");
	lv_obj_set_style_text_font(counter_label, &lv_font_montserrat_28, LV_PART_MAIN);
    lv_obj_set_style_text_color(counter_label, lv_color_hex(SAMUS_PURPLE), LV_PART_MAIN);
    lv_obj_align(counter_label, LV_ALIGN_TOP_LEFT, 20, 20);

	button = lv_obj_create(screen);
	lv_obj_set_size(button, 160, 50);
	if (screen_height > screen_width) {
		lv_obj_align(button, LV_ALIGN_TOP_RIGHT, -20, 60);
	} else {
		lv_obj_align(button, LV_ALIGN_TOP_RIGHT, -20, 20);
	}
	lv_obj_set_scrollable(button, false);
	lv_obj_set_clickable(button, true);

	lv_obj_set_style_bg_color(button, lv_color_hex(SAMUS_ORANGE), LV_PART_MAIN);
	lv_obj_set_style_bg_color(button, lv_color_hex(DARK_SAMUS_ARMOR), LV_PART_MAIN | LV_STATE_PRESSED);
	lv_obj_set_style_bg_opa(button, LV_OPA_COVER, LV_PART_MAIN);
	lv_obj_set_style_border_width(button, 0, LV_PART_MAIN);
	lv_obj_set_style_radius(button, 10, LV_PART_MAIN);
	lv_obj_set_style_shadow_width(button, 0, LV_PART_MAIN);

	lv_obj_set_style_text_color(button, lv_color_hex(DARK_SAMUS_ARMOR), LV_PART_MAIN);
	lv_obj_set_style_text_color(button, lv_color_hex(DARK_SAMUS_BLUE), LV_PART_MAIN | LV_STATE_PRESSED);
	lv_obj_add_event_cb(button, clickme_button_event_cb, LV_EVENT_CLICKED, NULL);

	button_label = lv_label_create(button);
	lv_label_set_text(button_label, "CLICK ME!");
	lv_obj_set_style_text_font(button_label, &lv_font_montserrat_28, LV_PART_MAIN);
	lv_obj_center(button_label);
}

static void morphball_animation_cb(void *obj, int32_t value)
{
    lv_obj_set_x((lv_obj_t *)obj, value);
}

static void create_morphball_anim(lv_obj_t *screen)
{
	static lv_obj_t *morph_ball = NULL;
	static lv_anim_t anim;

	lv_display_t *display = lv_obj_get_display(screen);
	int32_t screen_width = lv_display_get_horizontal_resolution(display);
	int32_t screen_height = lv_display_get_vertical_resolution(display);

	int32_t animation_start_x = 0;
	int32_t animation_end_x = screen_width - ANIMATION_BOX_SIZE;
	int32_t animation_y = screen_height - 100U;

	morph_ball = lv_obj_create(screen);

	lv_obj_set_size(morph_ball, ANIMATION_BOX_SIZE, ANIMATION_BOX_SIZE);
	lv_obj_set_style_bg_color(morph_ball, lv_color_hex(SAMUS_ORANGE), LV_PART_MAIN);
	lv_obj_set_style_bg_opa(morph_ball, LV_OPA_COVER, LV_PART_MAIN);
	lv_obj_set_style_radius(morph_ball, (ANIMATION_BOX_SIZE / 2U), LV_PART_MAIN);
	lv_obj_set_style_border_width(morph_ball, 0, LV_PART_MAIN);

	lv_obj_set_pos(morph_ball, animation_start_x, animation_y);

	lv_anim_init(&anim);
	lv_anim_set_var(&anim, morph_ball);
	lv_anim_set_exec_cb(&anim, morphball_animation_cb);
	lv_anim_set_values(&anim, animation_start_x, animation_end_x);
	lv_anim_set_duration(&anim, ANIMATION_DURATION_MS);
	lv_anim_set_playback_duration(&anim, ANIMATION_DURATION_MS);
	lv_anim_set_repeat_count(&anim, LV_ANIM_REPEAT_INFINITE);
	lv_anim_start(&anim);
}

static void create_version(lv_obj_t *screen, bool show_signature)
{
	static lv_obj_t *version_label = NULL;
	static lv_obj_t *label = NULL;
	char version_text[VERSION_TEXT_SIZE] = {0};

	lv_display_t *display = lv_obj_get_display(screen);
	int32_t screen_width = lv_display_get_horizontal_resolution(display);
	int32_t screen_height = lv_display_get_vertical_resolution(display);

	if (screen_height > screen_width) {
		(void)snprintf(version_text, sizeof(version_text),
			       "Zephyr %u.%u\nLVGL %u.%u",
			       (unsigned int)KERNEL_VERSION_MAJOR,
			       (unsigned int)KERNEL_VERSION_MINOR,
			       (unsigned int)lv_version_major(),
			       (unsigned int)lv_version_minor());
	} else {
		(void)snprintf(version_text, sizeof(version_text),
			       "Zephyr %u.%u x LVGL %u.%u",
			       (unsigned int)KERNEL_VERSION_MAJOR,
			       (unsigned int)KERNEL_VERSION_MINOR,
			       (unsigned int)lv_version_major(),
			       (unsigned int)lv_version_minor());
	}

	version_label = lv_label_create(screen);
	lv_label_set_text(version_label, version_text);
	lv_obj_set_style_text_font(version_label, &lv_font_montserrat_28, LV_PART_MAIN);
	lv_obj_set_style_text_color(version_label, lv_color_hex(SAMUS_ORANGE), LV_PART_MAIN);
	lv_obj_set_style_text_align(version_label, LV_TEXT_ALIGN_CENTER, LV_PART_MAIN);
	lv_obj_center(version_label);

	if (true == show_signature) {
		label = lv_label_create(screen);
		lv_label_set_text(label, "@_art_of_electronics_");
		lv_obj_set_style_text_font(label, &lv_font_montserrat_20, LV_PART_MAIN);
		lv_obj_set_style_text_color(label, lv_color_hex(SAMUS_RED), LV_PART_MAIN);
		lv_obj_align(label, LV_ALIGN_BOTTOM_MID, 0, -20);
	}
}

static void create_main_screen(lv_obj_t *screen, bool gradient_bg)
{
	if(true == gradient_bg) {
		lv_obj_set_style_bg_color(screen, lv_color_hex(DARK_SAMUS_BLUE), LV_PART_MAIN);
		lv_obj_set_style_bg_grad_color(screen, lv_color_hex(DARK_SAMUS_ARMOR),LV_PART_MAIN);
		lv_obj_set_style_bg_grad_dir(screen, LV_GRAD_DIR_VER, LV_PART_MAIN);
		lv_obj_set_style_bg_opa(screen, LV_OPA_COVER, LV_PART_MAIN);
	} else {
		lv_obj_set_style_bg_color(screen, lv_color_hex(DARK_SAMUS_ARMOR), LV_PART_MAIN);
    	lv_obj_set_style_bg_opa(screen, LV_OPA_COVER, LV_PART_MAIN);
	}
}

int main(void)
{
	int ret = 0;

	static const struct device *const backlight_dev = DEVICE_DT_GET(BACKLIGHT_NODE);
    static const struct device *const display_dev = DEVICE_DT_GET(DT_CHOSEN(zephyr_display));
	static const struct device *const rgb_led = DEVICE_DT_GET(RGB_LED_NODE);
    
    if (true != device_is_ready(display_dev)) {
        return -ENODEV;
    }

	struct led_rgb pixel = {
		.r = 0U,
		.g = 10U,
		.b = 10U,
	};

	if (true != device_is_ready(rgb_led)) {
		return -ENODEV;
	}

	if (true != device_is_ready(backlight_dev)) {
    	LOG_ERR("Backlight device not ready");
    	return -ENODEV;
	}

	if (NULL == lv_display_get_default()) {
    	LOG_ERR("LVGL display not available");
    	return -ENODEV;
	}

	screen = lv_screen_active();
	if (NULL == screen) {
    	LOG_ERR("LVGL active screen is NULL");
    	return -ENODEV;
	}

	LOG_INF("LCD RGB started");

	ret = led_strip_update_rgb(rgb_led, &pixel, 1U);
    if (0 != ret) {
        LOG_ERR("RGB LED update failed: %d", ret);
        return ret;
    }

    ret = led_set_brightness(backlight_dev, BACKLIGHT_LED_INDEX, 35U);
    if (0 != ret) {
        LOG_ERR("Backlight brightness failed: %d", ret);
        return ret;
    }

	create_main_screen(screen, true);
	create_version(screen, true);
	create_morphball_anim(screen);
	create_clickme(screen);

#if RUN_STRESS_TEST
	stress_test_start(screen);
#endif

	while (true) {
    	lv_timer_handler();
    	k_sleep(K_MSEC(10));
	}
}
```

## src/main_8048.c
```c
#include <zephyr/kernel.h>
#include <zephyr/sys/printk.h>
#include <zephyr/drivers/gpio.h>
#include <zephyr/drivers/led.h>
#include <zephyr/drivers/led_strip.h>
#include <zephyr/drivers/display.h>
#include <zephyr/device.h>
#include <zephyr/devicetree.h>
#include <zephyr/logging/log.h>
#include <zephyr/version.h>

#include <stdint.h>
#include <lvgl.h>

LOG_MODULE_REGISTER(main, LOG_LEVEL_INF);

#define LVGL_TASK_DELAY_MS  (10U)

#define SAMUS_ORANGE		(0xF28C28U)
#define SAMUS_RED       	(0xD62828U)
#define SAMUS_BLUE      	(0x2389DAU)
#define SAMUS_GREEN     	(0x50C878U)
#define SAMUS_PURPLE    	(0x8445C7U)
#define DARK_SAMUS_BLUE     (0x00CFFFU)
#define DARK_SAMUS_ARMOR	(0x142B5AU)

#define RGB_LED_NODE 			DT_ALIAS(led_strip)
#define BACKLIGHT_NODE      	DT_ALIAS(backlight_pwm)
#define BACKLIGHT_LED_INDEX 	(0U)

#define VERSION_TEXT_SIZE		(64U)

#define ANIMATION_DURATION_MS 	(3000U)
#define ANIMATION_BOX_SIZE    	(100)

#define RUN_STRESS_TEST (0)
extern void stress_test_start(lv_obj_t *screen);

static lv_obj_t *screen = NULL;
static lv_obj_t *counter_label = NULL;
static uint32_t click_count = 0U;

static void clickme_button_event_cb(lv_event_t *event)
{
    if (LV_EVENT_CLICKED == lv_event_get_code(event)) {
        click_count++;
		lv_label_set_text_fmt(counter_label, "Clicks: %u", click_count);

        LOG_INF("Button clicked: %u", (unsigned int)click_count);
    }
}

static void create_clickme(lv_obj_t *screen)
{
    lv_obj_t *button = NULL;
    lv_obj_t *button_label = NULL;
	
    counter_label = lv_label_create(screen);
    lv_label_set_text(counter_label, "Clicks: 0");
	lv_obj_set_style_text_font(counter_label, &lv_font_montserrat_48, LV_PART_MAIN);
    lv_obj_set_style_text_color(counter_label, lv_color_hex(SAMUS_PURPLE), LV_PART_MAIN);
    lv_obj_align(counter_label, LV_ALIGN_TOP_LEFT, 20, 20);

	button = lv_obj_create(screen);
	lv_obj_set_size(button, 180, 60);
	lv_obj_align(button, LV_ALIGN_TOP_RIGHT, -20, 20);
	lv_obj_set_scrollable(button, false);
	lv_obj_set_clickable(button, true);

	lv_obj_set_style_bg_color(button, lv_color_hex(SAMUS_ORANGE), LV_PART_MAIN);
	lv_obj_set_style_bg_color(button, lv_color_hex(DARK_SAMUS_ARMOR), LV_PART_MAIN | LV_STATE_PRESSED);
	lv_obj_set_style_bg_opa(button, LV_OPA_COVER, LV_PART_MAIN);
	lv_obj_set_style_border_width(button, 0, LV_PART_MAIN);
	lv_obj_set_style_radius(button, 10, LV_PART_MAIN);
	lv_obj_set_style_shadow_width(button, 0, LV_PART_MAIN);

	lv_obj_set_style_text_color(button, lv_color_hex(DARK_SAMUS_ARMOR), LV_PART_MAIN);
	lv_obj_set_style_text_color(button, lv_color_hex(DARK_SAMUS_BLUE), LV_PART_MAIN | LV_STATE_PRESSED);
	lv_obj_add_event_cb(button, clickme_button_event_cb, LV_EVENT_CLICKED, NULL);

	button_label = lv_label_create(button);
	lv_label_set_text(button_label, "CLICK ME!");
	lv_obj_set_style_text_font(button_label, &lv_font_montserrat_28, LV_PART_MAIN);
	lv_obj_center(button_label);
}

static void morphball_animation_cb(void *obj, int32_t value)
{
    lv_obj_set_x((lv_obj_t *)obj, value);
}

static void create_morphball_anim(lv_obj_t *screen)
{
	static lv_obj_t *morph_ball = NULL;
	static lv_anim_t anim;

	lv_display_t *display = lv_obj_get_display(screen);
	int32_t screen_width = lv_display_get_horizontal_resolution(display);
	int32_t screen_height = lv_display_get_vertical_resolution(display);

	int32_t animation_start_x = 0;
	int32_t animation_end_x = screen_width - ANIMATION_BOX_SIZE;
	int32_t animation_y = screen_height - 200U;

	morph_ball = lv_obj_create(screen);

	lv_obj_set_size(morph_ball, ANIMATION_BOX_SIZE, ANIMATION_BOX_SIZE);
	lv_obj_set_style_bg_color(morph_ball, lv_color_hex(SAMUS_ORANGE), LV_PART_MAIN);
	lv_obj_set_style_bg_opa(morph_ball, LV_OPA_COVER, LV_PART_MAIN);
	lv_obj_set_style_radius(morph_ball, (ANIMATION_BOX_SIZE / 2U), LV_PART_MAIN);
	lv_obj_set_style_border_width(morph_ball, 0, LV_PART_MAIN);

	lv_obj_set_pos(morph_ball, animation_start_x, animation_y);

	lv_anim_init(&anim);
	lv_anim_set_var(&anim, morph_ball);
	lv_anim_set_exec_cb(&anim, morphball_animation_cb);
	lv_anim_set_values(&anim, animation_start_x, animation_end_x);
	lv_anim_set_duration(&anim, ANIMATION_DURATION_MS);
	lv_anim_set_playback_duration(&anim, ANIMATION_DURATION_MS);
	lv_anim_set_repeat_count(&anim, LV_ANIM_REPEAT_INFINITE);
	lv_anim_start(&anim);
}

static void create_version(lv_obj_t *screen, bool show_signature)
{
	static lv_obj_t *version_label = NULL;
	static lv_obj_t *label = NULL;
	char version_text[VERSION_TEXT_SIZE] = {0};

	lv_display_t *display = lv_obj_get_display(screen);
	int32_t screen_width = lv_display_get_horizontal_resolution(display);
	int32_t screen_height = lv_display_get_vertical_resolution(display);

	if (screen_height > screen_width) {
		(void)snprintf(version_text, sizeof(version_text),
			       "Zephyr %u.%u\nLVGL %u.%u",
			       (unsigned int)KERNEL_VERSION_MAJOR,
			       (unsigned int)KERNEL_VERSION_MINOR,
			       (unsigned int)lv_version_major(),
			       (unsigned int)lv_version_minor());
	} else {
		(void)snprintf(version_text, sizeof(version_text),
			       "Zephyr %u.%u x LVGL %u.%u",
			       (unsigned int)KERNEL_VERSION_MAJOR,
			       (unsigned int)KERNEL_VERSION_MINOR,
			       (unsigned int)lv_version_major(),
			       (unsigned int)lv_version_minor());
	}

	version_label = lv_label_create(screen);
	lv_label_set_text(version_label, version_text);
	lv_obj_set_style_text_font(version_label, &lv_font_montserrat_48, LV_PART_MAIN);
	lv_obj_set_style_text_color(version_label, lv_color_hex(SAMUS_ORANGE), LV_PART_MAIN);
	lv_obj_set_style_text_align(version_label, LV_TEXT_ALIGN_CENTER, LV_PART_MAIN);
	lv_obj_center(version_label);

	if (true == show_signature) {
		label = lv_label_create(screen);
		lv_label_set_text(label, "@_art_of_electronics_");
		lv_obj_set_style_text_font(label, &lv_font_montserrat_28, LV_PART_MAIN);
		lv_obj_set_style_text_color(label, lv_color_hex(SAMUS_RED), LV_PART_MAIN);
		lv_obj_align(label, LV_ALIGN_BOTTOM_MID, 0, -50);
	}
}

static void create_main_screen(lv_obj_t *screen, bool gradient_bg)
{
	if(true == gradient_bg) {
		lv_obj_set_style_bg_color(screen, lv_color_hex(DARK_SAMUS_BLUE), LV_PART_MAIN);
		lv_obj_set_style_bg_grad_color(screen, lv_color_hex(DARK_SAMUS_ARMOR),LV_PART_MAIN);
		lv_obj_set_style_bg_grad_dir(screen, LV_GRAD_DIR_VER, LV_PART_MAIN);
		lv_obj_set_style_bg_opa(screen, LV_OPA_COVER, LV_PART_MAIN);
	} else {
		lv_obj_set_style_bg_color(screen, lv_color_hex(DARK_SAMUS_ARMOR), LV_PART_MAIN);
    	lv_obj_set_style_bg_opa(screen, LV_OPA_COVER, LV_PART_MAIN);
	}
}

int main(void)
{
	int ret = 0;

	static const struct device *const backlight_dev = DEVICE_DT_GET(BACKLIGHT_NODE);
    static const struct device *const display_dev = DEVICE_DT_GET(DT_CHOSEN(zephyr_display));
	static const struct device *const rgb_led = DEVICE_DT_GET(RGB_LED_NODE);
    
    if (true != device_is_ready(display_dev)) {
        return -ENODEV;
    }

	struct led_rgb pixel = {
		.r = 0U,
		.g = 10U,
		.b = 10U,
	};

	if (true != device_is_ready(rgb_led)) {
		return -ENODEV;
	}

	if (true != device_is_ready(backlight_dev)) {
    	LOG_ERR("Backlight device not ready");
    	return -ENODEV;
	}

	if (NULL == lv_display_get_default()) {
    	LOG_ERR("LVGL display not available");
    	return -ENODEV;
	}

	screen = lv_screen_active();
	if (NULL == screen) {
    	LOG_ERR("LVGL active screen is NULL");
    	return -ENODEV;
	}

	LOG_INF("LCD RGB started");

	ret = led_strip_update_rgb(rgb_led, &pixel, 1U);
    if (0 != ret) {
        LOG_ERR("RGB LED update failed: %d", ret);
        return ret;
    }

    ret = led_set_brightness(backlight_dev, BACKLIGHT_LED_INDEX, 35U);
    if (0 != ret) {
        LOG_ERR("Backlight brightness failed: %d", ret);
        return ret;
    }

	create_main_screen(screen, true);
	create_version(screen, true);
	create_morphball_anim(screen);
	create_clickme(screen);

#if RUN_STRESS_TEST
	stress_test_start(screen);
#endif

	while (true) {
    	lv_timer_handler();
    	k_sleep(K_MSEC(10));
	}
}
```
